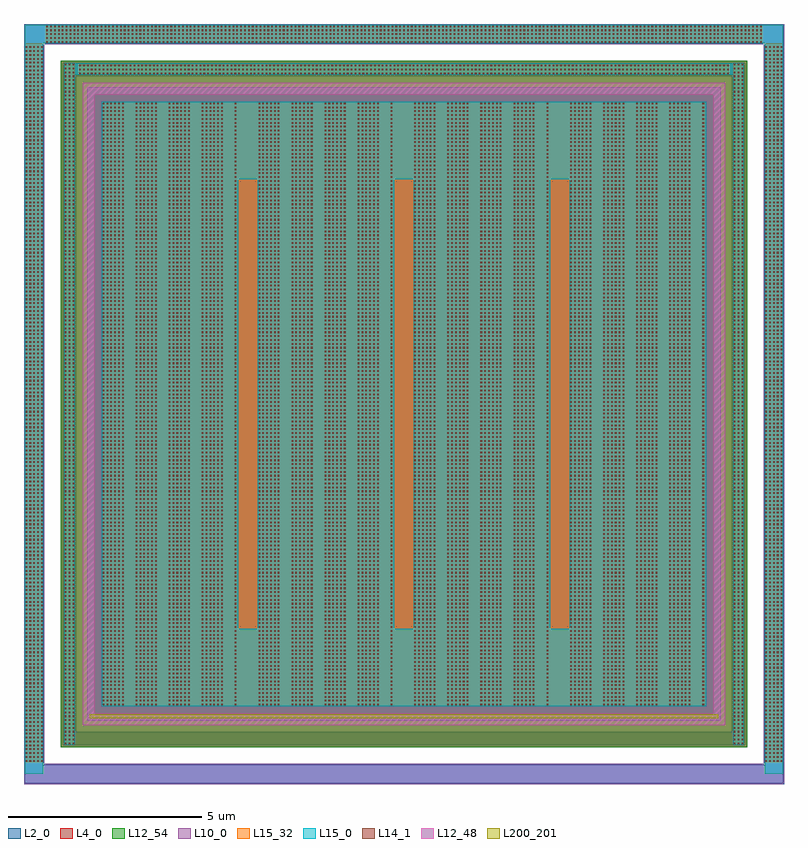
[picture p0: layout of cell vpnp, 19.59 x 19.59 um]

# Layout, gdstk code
import gdstk
lib = gdstk.Library(unit=1e-6, precision=1e-09)
def R(c, l, rs):  # rectangles x0, y0, x1, y1
    for r in rs: c.add(gdstk.rectangle(r[:2], r[2:], *l))
def A(c, l, x, y, w, h, nx, ny, dx, dy):  # array of equal rectangles
    R(c, l, [(x+i*dx, y+j*dy, x+i*dx+w, y+j*dy+h) for i in range(nx) for j in range(ny)])
L2_0 = (2, 0)
L4_0 = (4, 0)
L10_0 = (10, 0)
L12_48 = (12, 48)
L12_54 = (12, 54)
L14_1 = (14, 1)
L15_0 = (15, 0)
L15_32 = (15, 32)
L200_201 = (200, 201)

vpnp = lib.new_cell('vpnp')
R(vpnp, L2_0, [(-16.279,-8.309,3.273,-7.829), (-16.279,-7.829,-15.799,10.763), (2.793,-7.829,3.273,10.763), (-15.299,-7.329,2.293,-6.989), (-15.299,-6.989,-14.959,9.923), (1.953,-6.989,2.293,9.923), (-14.603,-6.633,1.597,9.567), (-15.299,9.923,2.293,10.263), (-16.279,10.763,3.273,11.243)])
R(vpnp, L4_0, [(-15.355,-7.385,2.349,10.319)])
R(vpnp, L10_0, [(-16.3,-8.33,3.294,-7.808), (-16.3,-7.808,-15.778,10.742), (2.772,-7.808,3.294,10.742), (-14.673,-6.703,1.667,9.637), (-16.3,10.742,3.294,11.264)])
R(vpnp, L12_48, [(-14.784,-6.814,1.778,-6.508), (-14.784,-6.508,-14.478,9.442), (1.472,-6.508,1.778,9.442), (-14.784,9.442,1.778,9.748)])
R(vpnp, L12_54, [(-15.355,-7.385,2.349,10.319)])
A(vpnp, L14_1, -16.259, -7.753, 0.04, 0.04, 5, 185, 0.1, 0.1)
A(vpnp, L14_1, 2.813, -7.753, 0.04, 0.04, 5, 185, 0.1, 0.1)
A(vpnp, L14_1, -15.249, -7.303, 0.04, 0.04, 3, 176, 0.1, 0.1)
A(vpnp, L14_1, 2.003, -7.303, 0.04, 0.04, 3, 176, 0.1, 0.1)
A(vpnp, L14_1, -14.273, -6.303, 0.04, 0.04, 6, 156, 0.1, 0.1)
A(vpnp, L14_1, -13.421, -6.303, 0.04, 0.04, 6, 156, 0.1, 0.1)
A(vpnp, L14_1, -12.569, -6.303, 0.04, 0.04, 6, 156, 0.1, 0.1)
A(vpnp, L14_1, -11.717, -6.303, 0.04, 0.04, 6, 156, 0.1, 0.1)
A(vpnp, L14_1, -10.865, -6.303, 0.04, 0.04, 1, 156, 0, 0.1)
A(vpnp, L14_1, -10.254, -6.303, 0.04, 0.04, 6, 156, 0.1, 0.1)
A(vpnp, L14_1, -9.402, -6.303, 0.04, 0.04, 6, 156, 0.1, 0.1)
A(vpnp, L14_1, -8.55, -6.303, 0.04, 0.04, 6, 156, 0.1, 0.1)
A(vpnp, L14_1, -7.698, -6.303, 0.04, 0.04, 6, 156, 0.1, 0.1)
A(vpnp, L14_1, -6.846, -6.303, 0.04, 0.04, 1, 156, 0, 0.1)
A(vpnp, L14_1, -6.235, -6.303, 0.04, 0.04, 6, 156, 0.1, 0.1)
A(vpnp, L14_1, -5.383, -6.303, 0.04, 0.04, 6, 156, 0.1, 0.1)
A(vpnp, L14_1, -4.531, -6.303, 0.04, 0.04, 6, 156, 0.1, 0.1)
A(vpnp, L14_1, -3.679, -6.303, 0.04, 0.04, 6, 156, 0.1, 0.1)
A(vpnp, L14_1, -2.827, -6.303, 0.04, 0.04, 1, 156, 0, 0.1)
A(vpnp, L14_1, -2.216, -6.303, 0.04, 0.04, 6, 156, 0.1, 0.1)
A(vpnp, L14_1, -1.364, -6.303, 0.04, 0.04, 6, 156, 0.1, 0.1)
A(vpnp, L14_1, -0.512, -6.303, 0.04, 0.04, 6, 156, 0.1, 0.1)
A(vpnp, L14_1, 0.34, -6.303, 0.04, 0.04, 6, 156, 0.1, 0.1)
A(vpnp, L14_1, 1.192, -6.303, 0.04, 0.04, 1, 156, 0, 0.1)
A(vpnp, L14_1, -14.873, 9.973, 0.04, 0.04, 168, 3, 0.1, 0.1)
A(vpnp, L14_1, -15.723, 10.783, 0.04, 0.04, 185, 5, 0.1, 0.1)
A(vpnp, L15_0, -14.291, -4.321, 3.519, 11.576, 4, 1, 4.019, 0)
R(vpnp, L15_0, [(-16.277,-8.069,-15.801,11.241), (2.795,-8.069,3.271,11.241), (-15.267,-7.321,-14.991,10.255), (1.985,-7.321,2.261,10.255), (-14.291,-6.321,1.285,-4.321), (-14.291,7.255,1.285,9.255), (-14.991,9.955,1.985,10.255), (-15.801,10.765,2.795,11.241)])
R(vpnp, L15_32, [(-16.277,-7.771,-15.801,10.765), (2.795,-7.771,3.271,10.765), (-15.267,-7.321,-14.991,10.255), (1.985,-7.321,2.261,10.255), (-14.291,-6.321,1.285,9.255), (-14.891,9.955,1.885,10.231), (-15.741,10.765,2.735,11.241)])
R(vpnp, L200_201, [(-14.603,-6.633,1.597,-6.533)])

lib.write_gds('vpnp.gds')
